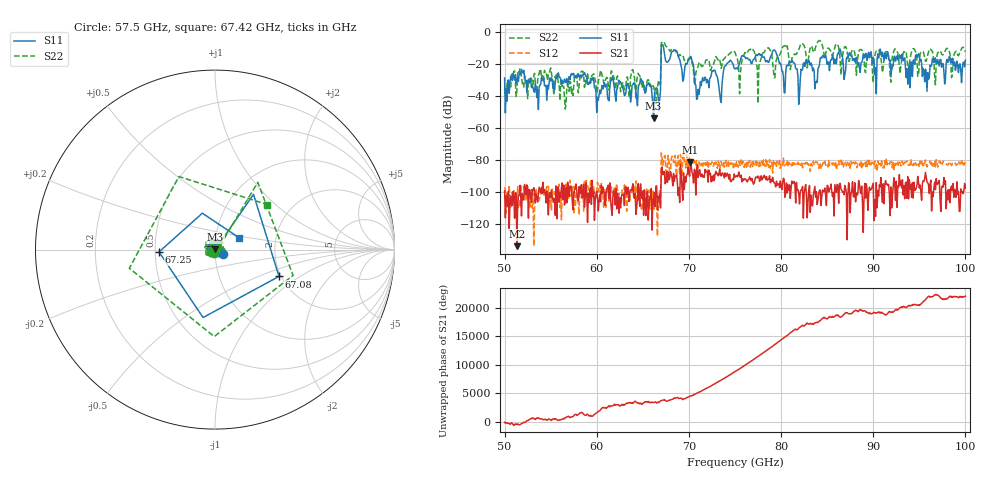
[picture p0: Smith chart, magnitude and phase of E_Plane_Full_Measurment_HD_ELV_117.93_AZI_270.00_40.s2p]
! 11/26/2026 3:36:10 PM
! C:\ANRITSUVNA\TEMP\TEMP.S2P
! CHANNEL.1
! TR.MEASUREMENT
! RAW.DATA
# HZ S RI R 50.0
! FREQ.HZ  S11RE  S11IM  S21RE  S21IM  S12RE  S12IM  S22RE  S22IM
!; PortSelection: Port_12
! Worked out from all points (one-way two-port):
!   601 points, 50 GHz to 100 GHz, reference 50 ohm
!   highest |S21| = -81.51 dB at 70.17 GHz (marker M1); lowest = -134.0 dB at 51.33 GHz (marker M2)
!   lowest |S11| = -54.1 dB at 66.17 GHz (marker M3), VSWR 1.00, Z = 50.1 + j0.143 ohm
!   |S11| at or under -10 dB: start of sweep to 67 GHz; 67.24 GHz to end of sweep
!   |S22| runs from -48.4 to -5.6 dB; largest |S21 - S12| = 0.00022
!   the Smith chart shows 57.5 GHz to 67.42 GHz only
!   S11 on the Smith chart (normalised r, x): 57.5 GHz: 1.09, -0.05; 67.08 GHz: 1.95, -0.68; 67.25 GHz: 0.52, -0.02; 67.42 GHz: 1.29, +0.18
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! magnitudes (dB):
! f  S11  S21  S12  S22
! 50 GHz  -29.0  -99.4  -97.2  -35.7
! 51.33 GHz  -30.2  -134.0  -112.0  -36.7
! 53.42 GHz  -34.8  -101.4  -97.9  -34.9
! 57.5 GHz  -26.2  -102.0  -114.0  -34.6
! 58.42 GHz  -27.2  -104.0  -95.9  -24.7
! 60.17 GHz  -42.9  -112.0  -96.7  -30.4
! 66.17 GHz  -54.1  -107.7  -111.7  -34.0
! 66.67 GHz  -41.5  -103.0  -106.5  -31.6
! 67.08 GHz  -8.3  -84.5  -77.9  -6.8
! 67.25 GHz  -10.1  -87.9  -80.7  -6.2
! 67.42 GHz  -16.6  -95.0  -77.5  -8.3
! 70.17 GHz  -15.5  -81.5  -81.7  -18.5
! 70.92 GHz  -42.0  -82.9  -81.9  -23.2
! 75 GHz  -23.3  -90.9  -82.8  -13.0
! 79.25 GHz  -11.5  -94.5  -82.6  -28.9
! 80.25 GHz  -27.9  -91.6  -79.0  -9.3
! 83.42 GHz  -24.5  -108.8  -83.8  -10.8
! 91.67 GHz  -16.8  -95.4  -81.4  -15.2
! 93.75 GHz  -32.8  -90.6  -81.7  -21.3
! 94.83 GHz  -15.0  -90.4  -83.4  -27.9
! 95.83 GHz  -37.3  -93.8  -84.5  -16.5
! 100 GHz  -17.9  -97.7  -82.9  -12.6
